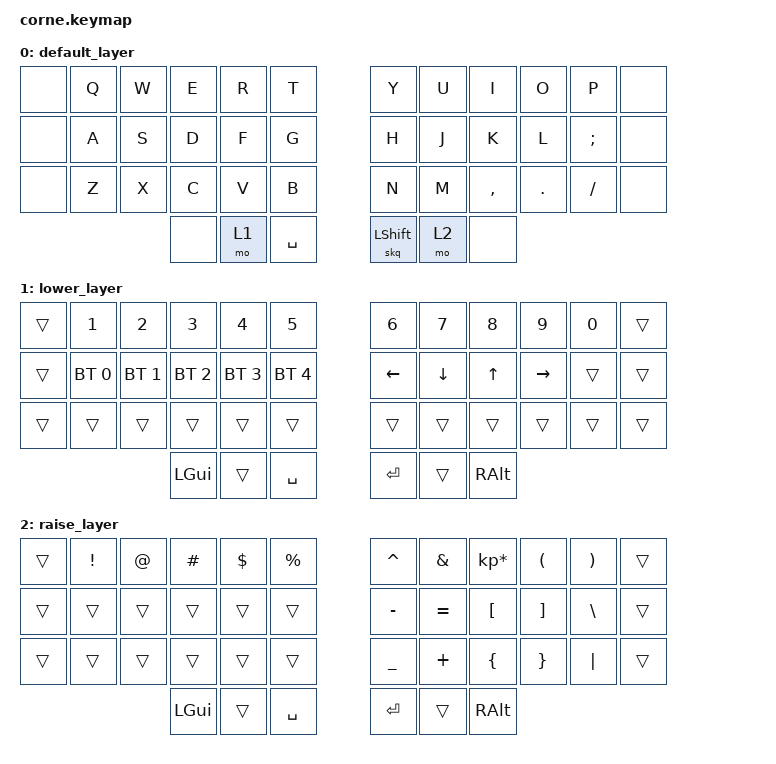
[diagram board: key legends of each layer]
/*
 * Copyright (c) 2020 The ZMK Contributors
 *
 * SPDX-License-Identifier: MIT
 */

#include <behaviors.dtsi>
#include <dt-bindings/zmk/keys.h>
#include <dt-bindings/zmk/bt.h>

&sk { 
  release-after-ms = <2000>; 
};

/ {

        behaviors {
          skq: sticky_key_quick_release {
            compatible = "zmk,behavior-sticky-key";
            label = "STICKY_KEY_QUICK_RELEASE";
            #binding-cells = <1>;
            bindings = <&kp>;
            release-after-ms = <1000>;
                quick-release;
          };
        };
        
        combos {
          compatible = "zmk,combos";
          combo_sqt {
              timeout-ms = <30>;
              key-positions = <22 23>;
              bindings = <&kp SQT>;
              layers = <0>;
          };
        };


        keymap {
                compatible = "zmk,keymap";

                default_layer {
// -----------------------------------------------------------------------------------------
// |  TAB |  Q  |  W  |  E  |  R  |  T  |   |  Y  |  U   |  I  |  O  |  P  | REPT |
// | CTRL |  A  |  S  |  D  |  F  |  G  |   |  H  |  J   |  K  |  L  |  ;  |  '   |
// | SHFT |  Z  |  X  |  C  |  V  |  B  |   |  N  |  M   |  ,  |  .  |  /  | ESC  |
//                    | GUI | LWR | SPC |   | ENT | RSE  | BSP |
                        bindings = <
   &none &kp Q &kp W &kp E &kp R &kp T   &kp Y &kp U  &kp I     &kp O   &kp P    &none
   &none &kp A &kp S &kp D &kp F &kp G   &kp H &kp J  &kp K     &kp L   &kp SEMI &none
   &none &kp Z &kp X &kp C &kp V &kp B   &kp N &kp M  &kp COMMA &kp DOT &kp FSLH &none
                  &none &mo 1 &kp SPACE   &skq LSHIFT &mo 2 &none
                        >;
                };
                lower_layer {
// -----------------------------------------------------------------------------------------
// |  TAB |  1  |  2  |  3  |  4  |  5  |   |  6  |  7  |  8  |  9  |  0  | BKSP |
// | BTCLR| BT1 | BT2 | BT3 | BT4 | BT5 |   | LFT | DWN |  UP | RGT |     |      |
// | SHFT |     |     |     |     |     |   |     |     |     |     |     |      |
//                    | GUI |     | SPC |   | ENT |     | ALT |
                        bindings = <
   &trans    &kp N1       &kp N2       &kp N3       &kp N4       &kp N5         &kp N6   &kp N7   &kp N8 &kp N9    &kp N0 &trans
   &trans &bt BT_SEL 0 &bt BT_SEL 1 &bt BT_SEL 2 &bt BT_SEL 3 &bt BT_SEL 4   &kp LEFT &kp DOWN &kp UP &kp RIGHT &trans &trans
   &trans  &trans       &trans       &trans       &trans       &trans         &trans   &trans   &trans &trans    &trans &trans
                          	        &kp LGUI     &trans       &kp SPACE      &kp RET  &trans   &kp RALT
                        >;
                };

                raise_layer {
// -----------------------------------------------------------------------------------------
// |  TAB |  !  |  @  |  #  |  $  |  %  |   |  ^  |  &  |  *  |  (  |  )  | BKSP |
// | CTRL |     |     |     |     |     |   |  -  |  =  |  [  |  ]  |  \  |  `   |
// | SHFT |     |     |     |     |     |   |  _  |  +  |  {  |  }  | "|" |  ~   |
//                    | GUI |     | SPC |   | ENT |     | ALT |
                        bindings = <
   &trans  &kp EXCL &kp AT &kp HASH &kp DLLR &kp PRCNT   &kp CARET &kp AMPS  &kp KP_MULTIPLY &kp LPAR &kp RPAR &trans
   &trans &trans   &trans &trans   &trans   &trans      &kp MINUS &kp EQUAL &kp LBKT        &kp RBKT &kp BSLH &trans
   &trans &trans   &trans &trans   &trans   &trans      &kp UNDER &kp PLUS  &kp LBRC        &kp RBRC &kp PIPE &trans
                    	     &kp LGUI &trans   &kp SPACE   &kp RET   &trans    &kp RALT
                        >;
                };
        };
};
